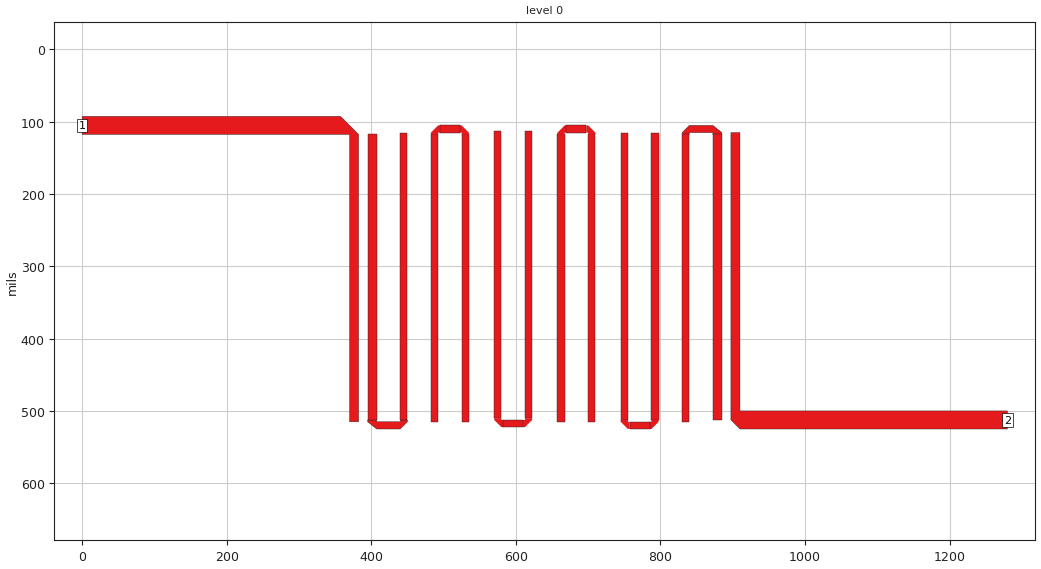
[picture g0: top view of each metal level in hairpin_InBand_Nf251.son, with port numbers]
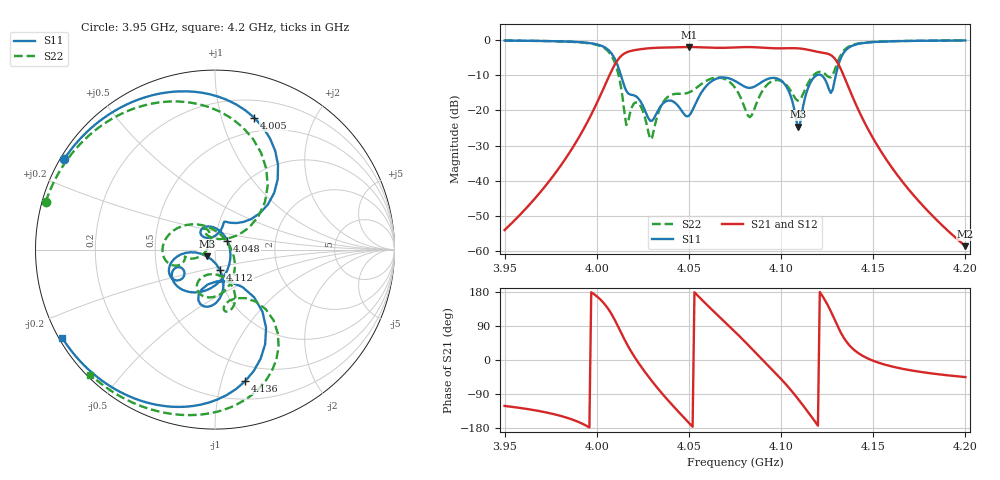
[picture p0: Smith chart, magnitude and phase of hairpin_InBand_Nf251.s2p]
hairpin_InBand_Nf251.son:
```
FTYP SONPROJ 19 ! Sonnet Project File
VER 18.56
HEADER
LIC sonnet10.72.52417
DAT 03/21/2023 12:16:21
BUILT_BY_CREATED example 18.56 08/23/2022 14:03:15
BUILT_BY_SAVED sonnet 18.56
MDATE 10/24/2012 11:01:19
HDATE 10/24/2012 11:01:19
EXF
END HEADER
DIM
ANG DEG
CAP PF
CON /OH
FREQ GHZ
IND NH
LNG mils
RES OH
END DIM
CONTROL
VARSWP
OPTIONS  -d
SPEED 0
CACHE_ABS 2
Q_ACC N
END CONTROL
GEO
DRP1 LEFT FIX 357.5
DRP1 RIGHT FIX 370
DRP1 BOTTOM FIX 160
TMET "Lossless" 0 SUP 0 0 0 0
BMET "Lossless" 0 SUP 0 0 0 0
BOX 1 1280 640 1024 512 20 0
      20 2.94 1 0.0012 0 0 2 "Rogers RT6002"
      20 2.94 1 0.0012 0 0 2 "Rogers RT6002"
LORGN 0 640 U 
POR1 BOX
POLY 148 1
5
1 50 0 0 0 0 105 
POR1 BOX
POLY 150 1
6
2 50 0 0 0 1280 512.5 
NUM 28
0 8 -1 N 148 1 1 100 100 0 0 0 Y
370 117.5
370 515
382.5 515
382.5 117.5
357.5 92.5
0 92.5
0 117.5
370 117.5
END
0 8 -1 N 150 1 1 100 100 0 0 0 Y
1280 500
910 500
910 115
897.5 115
897.5 512.5
910 525
1280 525
1280 500
END
0 5 -1 N 152 1 1 100 100 0 0 0 Y
482.5 117.5
492.5 117.5
492.5 515
482.5 515
482.5 117.5
END
0 5 -1 N 153 1 1 100 100 0 0 0 Y
525 117.5
535 117.5
535 515
525 515
525 117.5
END
0 8 -1 N 154 1 1 100 100 0 0 0 Y
525 117.5
525 115
522.5 115
522.5 105
525 105
535 115
535 117.5
525 117.5
END
0 8 -1 N 155 1 1 100 100 0 0 0 Y
492.5 117.5
492.5 115
495 115
495 105
492.5 105
482.5 115
482.5 117.5
492.5 117.5
END
0 5 -1 N 156 1 1 100 100 0 0 0 Y
495 105
522.5 105
522.5 115
495 115
495 105
END
0 5 -1 N 157 1 1 100 100 0 0 0 Y
657.5 117.5
667.5 117.5
667.5 515
657.5 515
657.5 117.5
END
0 5 -1 N 158 1 1 100 100 0 0 0 Y
700 117.5
710 117.5
710 515
700 515
700 117.5
END
0 8 -1 N 159 1 1 100 100 0 0 0 Y
700 117.5
700 115
697.5 115
697.5 105
700 105
710 115
710 117.5
700 117.5
END
0 8 -1 N 160 1 1 100 100 0 0 0 Y
667.5 117.5
667.5 115
670 115
670 105
667.5 105
657.5 115
657.5 117.5
667.5 117.5
END
0 5 -1 N 161 1 1 100 100 0 0 0 Y
670 105
697.5 105
697.5 115
670 115
670 105
END
0 5 -1 N 162 1 1 100 100 0 0 0 Y
570 510
580 510
580 112.5
570 112.5
570 510
END
0 5 -1 N 163 1 1 100 100 0 0 0 Y
612.5 510
622.5 510
622.5 112.5
612.5 112.5
612.5 510
END
0 8 -1 N 164 1 1 100 100 0 0 0 Y
612.5 510
612.5 512.5
610 512.5
610 522.5
612.5 522.5
622.5 512.5
622.5 510
612.5 510
END
0 8 -1 N 165 1 1 100 100 0 0 0 Y
580 510
580 512.5
582.5 512.5
582.5 522.5
580 522.5
570 512.5
570 510
580 510
END
0 5 -1 N 166 1 1 100 100 0 0 0 Y
582.5 522.5
610 522.5
610 512.5
582.5 512.5
582.5 522.5
END
0 5 -1 N 167 1 1 100 100 0 0 0 Y
745 512.5
755 512.5
755 115
745 115
745 512.5
END
0 5 -1 N 168 1 1 100 100 0 0 0 Y
787.5 512.5
797.5 512.5
797.5 115
787.5 115
787.5 512.5
END
0 8 -1 N 169 1 1 100 100 0 0 0 Y
787.5 512.5
787.5 515
785 515
785 525
787.5 525
797.5 515
797.5 512.5
787.5 512.5
END
0 8 -1 N 170 1 1 100 100 0 0 0 Y
755 512.5
755 515
757.5 515
757.5 525
755 525
745 515
745 512.5
755 512.5
END
0 5 -1 N 171 1 1 100 100 0 0 0 Y
757.5 525
785 525
785 515
757.5 515
757.5 525
END
0 11 -1 N 172 1 1 100 100 0 0 0 Y
395 512.5
407.5 512.5
407.5 515
440 515
440 512.5
450 512.5
450 515
440 525
407.5 525
395 515
395 512.5
END
0 5 -1 N 173 1 1 100 100 0 0 0 Y
395 117.5
407.5 117.5
407.5 512.5
395 512.5
395 117.5
END
0 5 -1 N 174 1 1 100 100 0 0 0 Y
440 115
450 115
450 512.5
440 512.5
440 115
END
0 11 -1 N 175 1 1 100 100 0 0 0 Y
885 117.5
872.5 117.5
872.5 115
840 115
840 117.5
830 117.5
830 115
840 105
872.5 105
885 115
885 117.5
END
0 5 -1 N 176 1 1 100 100 0 0 0 Y
885 512.5
872.5 512.5
872.5 117.5
885 117.5
885 512.5
END
0 5 -1 N 177 1 1 100 100 0 0 0 Y
840 515
830 515
830 117.5
840 117.5
840 515
END
END GEO
OPT
MAX 100
END OPT
VARSWP
ENABLED Y
FREQ Y AN SWEEP 3.95 4.2 0.001
END
END VARSWP
FILEOUT
TOUCH D Y $BASENAME.s2p IC 15 S MA R 50.00000
FOLDER .
END FILEOUT
```
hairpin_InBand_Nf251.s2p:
! Sonnet Data File
! From: em Version : 18.56
! From Project: hairpin_InBand_Nf201
! Data is De-embedded
! Data File Written: 03/21/2023 12:17:24
!< HDATE 10/24/2012 11:01:19
!< MDATE 10/24/2012 11:01:19
# GHZ S MA R 50.00000
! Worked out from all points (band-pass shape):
!   251 points, 3.95 GHz to 4.2 GHz, reference 50 ohm
!   highest |S21| = -2.01 dB at 4.05 GHz (marker M1); lowest = -58.5 dB at 4.2 GHz (marker M2)
!   |S21| within 3 dB of the highest: 4.012 GHz to 4.129 GHz (116.2 MHz wide, 2.85 % of centre)
!   lowest |S11| = -24.6 dB at 4.109 GHz (marker M3), VSWR 1.12, Z = 45.5 - j3.4 ohm
!   |S11| at or under -10 dB: 4.013 GHz to 4.119 GHz (106.3 MHz wide, 2.61 % of centre); 4.121759 GHz to 4.129706 GHz (7.948 MHz wide, 0.193 % of centre)
!   |S22| runs from -28.2 to -0.1 dB; largest |S21 - S12| = 4e-12
!   S11 on the Smith chart (normalised r, x): 3.95 GHz: 0.01, +0.28; 4.005 GHz: 0.36, +1.28; 4.048 GHz: 1.14, +0.11; 4.112 GHz: 1.03, -0.23; 4.136 GHz: 0.35, -1.19; 4.2 GHz: 0.01, -0.27
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3.95  0.9799 149.0  0.002007 -121.2  0.002007 -121.2  0.98 164.2
4.005  0.7659 73.3  0.2452 143.0  0.2452 143.0  0.7362 82.7
4.023  0.1432 71.9  0.7342 -10.1  0.7342 -10.1  0.1231 111.9
4.048  0.08491 36.0  0.7923 -155.7  0.7923 -155.7  0.1738 -164.1
4.05  0.08394 -0.3  0.793 -166.0  0.793 -166.0  0.1798 -161.0
4.075  0.262 -153.5  0.783 74.6  0.783 74.6  0.2099 139.2
4.091  0.2662 -140.0  0.7744 -4.9  0.7744 -4.9  0.2094 -66.4
4.109  0.05873 -140.6  0.7604 -101.4  0.7604 -101.4  0.1375 -96.4
4.112  0.1159 -76.4  0.7462 -120.4  0.7462 -120.4  0.1728 -70.2
4.136  0.7528 -77.2  0.2324 45.0  0.2324 45.0  0.7836 -68.9
4.2  0.9832 -149.9  0.001185 -45.0  0.001185 -45.0  0.9836 -134.9
